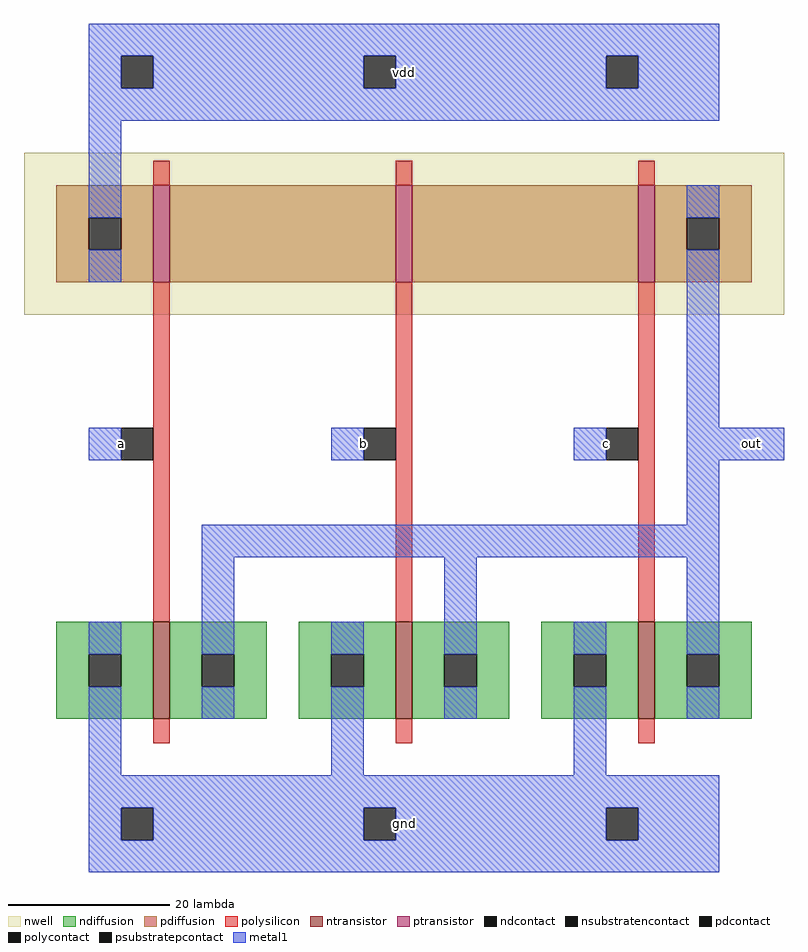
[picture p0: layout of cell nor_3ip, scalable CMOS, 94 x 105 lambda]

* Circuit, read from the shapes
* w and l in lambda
.subckt nor_3ip a b c gnd out vdd
M1 out a gnd vdd nfet w=12 l=2
M2 out b gnd vdd nfet w=12 l=2
M3 out c gnd vdd nfet w=12 l=2
M4 n1 a vdd n2 pfet w=12 l=2
M5 n3 b n1 n2 pfet w=12 l=2
M6 out c n3 n2 pfet w=12 l=2
.ends

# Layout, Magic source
magic
tech scmos
<< nwell >>
rect -8 46 86 66
<< polysilicon >>
rect 8 62 10 65
rect 38 62 40 65
rect 68 62 70 65
rect 8 8 10 50
rect 38 8 40 50
rect 68 8 70 50
rect 8 -7 10 -4
rect 38 -7 40 -4
rect 68 -7 70 -4
<< ndiffusion >>
rect -4 4 8 8
rect -4 0 0 4
rect 4 0 8 4
rect -4 -4 8 0
rect 10 4 22 8
rect 10 0 14 4
rect 18 0 22 4
rect 10 -4 22 0
rect 26 4 38 8
rect 26 0 30 4
rect 34 0 38 4
rect 26 -4 38 0
rect 40 4 52 8
rect 40 0 44 4
rect 48 0 52 4
rect 40 -4 52 0
rect 56 4 68 8
rect 56 0 60 4
rect 64 0 68 4
rect 56 -4 68 0
rect 70 4 82 8
rect 70 0 74 4
rect 78 0 82 4
rect 70 -4 82 0
<< pdiffusion >>
rect -4 58 8 62
rect -4 54 0 58
rect 4 54 8 58
rect -4 50 8 54
rect 10 50 38 62
rect 40 50 68 62
rect 70 58 82 62
rect 70 54 74 58
rect 78 54 82 58
rect 70 50 82 54
<< metal1 >>
rect 0 78 78 82
rect 0 74 4 78
rect 8 74 34 78
rect 38 74 64 78
rect 68 74 78 78
rect 0 70 78 74
rect 0 58 4 70
rect 0 50 4 54
rect 74 58 78 62
rect 74 32 78 54
rect 0 28 4 32
rect 30 28 34 32
rect 60 28 64 32
rect 74 28 86 32
rect 74 20 78 28
rect 14 16 78 20
rect 0 4 4 8
rect 0 -11 4 0
rect 14 4 18 16
rect 14 -4 18 0
rect 30 4 34 8
rect 30 -11 34 0
rect 44 4 48 16
rect 44 -4 48 0
rect 60 4 64 8
rect 60 -11 64 0
rect 74 4 78 16
rect 74 -4 78 0
rect 0 -15 78 -11
rect 0 -19 4 -15
rect 8 -19 34 -15
rect 38 -19 64 -15
rect 68 -19 78 -15
rect 0 -23 78 -19
<< ntransistor >>
rect 8 -4 10 8
rect 38 -4 40 8
rect 68 -4 70 8
<< ptransistor >>
rect 8 50 10 62
rect 38 50 40 62
rect 68 50 70 62
<< polycontact >>
rect 4 28 8 32
rect 34 28 38 32
rect 64 28 68 32
<< ndcontact >>
rect 0 0 4 4
rect 14 0 18 4
rect 30 0 34 4
rect 44 0 48 4
rect 60 0 64 4
rect 74 0 78 4
<< pdcontact >>
rect 0 54 4 58
rect 74 54 78 58
<< psubstratepcontact >>
rect 4 74 8 78
rect 34 74 38 78
rect 64 74 68 78
<< nsubstratencontact >>
rect 4 -19 8 -15
rect 34 -19 38 -15
rect 64 -19 68 -15
<< labels >>
rlabel metal1 0 70 78 82 1 vdd
rlabel metal1 0 -23 78 -11 1 gnd
rlabel metal1 0 28 8 32 1 a
rlabel metal1 30 28 38 32 1 b
rlabel metal1 60 28 68 32 1 c
rlabel metal1 78 28 86 32 7 out
<< end >>
